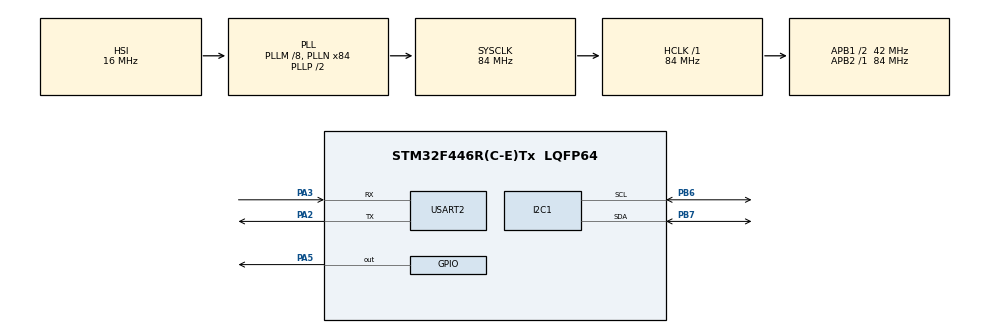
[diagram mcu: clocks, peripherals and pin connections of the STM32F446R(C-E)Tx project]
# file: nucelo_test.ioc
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I2C1.I2C_Mode=I2C_Fast
Mcu.Family=STM32F4
Mcu.Name=STM32F446R(C-E)Tx
Mcu.Package=LQFP64
NVIC.PriorityGroup=NVIC_PRIORITYGROUP_4
NVIC.USART2_IRQn=true\:0\:0\:false\:false\:true\:true\:true\:true
PA2.Mode=Asynchronous
PA2.Signal=USART2_TX
PA3.Mode=Asynchronous
PA3.Signal=USART2_RX
PA5.GPIO_ModeDefaultOutputPP=GPIO_MODE_OUTPUT_PP
PA5.GPIO_PuPd=GPIO_NOPULL
PA5.PinState=GPIO_PIN_RESET
PA5.Signal=GPIO_Output
PB6.Mode=I2C
PB6.Signal=I2C1_SCL
PB7.Mode=I2C
PB7.Signal=I2C1_SDA
ProjectManager.HeapSize=0x200
ProjectManager.StackSize=0x400
ProjectManager.TargetToolchain=STM32CubeIDE
RCC.AHBFreq_Value=84000000
RCC.APB1CLKDivider=RCC_HCLK_DIV2
RCC.APB1Freq_Value=42000000
RCC.APB1TimFreq_Value=84000000
RCC.APB2Freq_Value=84000000
RCC.APB2TimFreq_Value=84000000
RCC.CortexFreq_Value=84000000
RCC.HCLKFreq_Value=84000000
RCC.PLLM=8
RCC.PLLN=84
RCC.SYSCLKFreq_VALUE=84000000
RCC.SYSCLKSource=RCC_SYSCLKSOURCE_PLLCLK
RCC.USBFreq_Value=84000000
RCC.VCOOutputFreq_Value=168000000
USART2.VirtualMode=VM_ASYNC
board=custom

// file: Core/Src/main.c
/* USER CODE BEGIN Header */
/**
 ******************************************************************************
 * @file           : main.c
 * @brief          : Main program body
 ******************************************************************************
 * @attention
 *
 * Copyright (c) 2026 STMicroelectronics.
 * All rights reserved.
 *
 * This software is licensed under terms that can be found in the LICENSE file
 * in the root directory of this software component.
 * If no LICENSE file comes with this software, it is provided AS-IS.
 *
 ******************************************************************************
 */
/* USER CODE END Header */
#include "main.h"

/* USER CODE BEGIN Includes */
#include <stdio.h>
/* USER CODE END Includes */

I2C_HandleTypeDef hi2c1;

UART_HandleTypeDef huart2;

void SystemClock_Config(void);
static void MX_GPIO_Init(void);
static void MX_USART2_UART_Init(void);
static void MX_I2C1_Init(void);

/* USER CODE BEGIN 0 */
// Send printf to uart2
int _write(int fd, char* ptr, int len) {
	HAL_StatusTypeDef hstatus;

	if (fd == 1 || fd == 2) {
		hstatus = HAL_UART_Transmit(&huart2, (uint8_t *) ptr, len, HAL_MAX_DELAY);
		if (hstatus == HAL_OK)
			return len;
		else
			return -1;
	}
	return -1;
}
/* USER CODE END 0 */

int main(void)
{

	/* MCU Configuration--------------------------------------------------------*/

	/* Reset of all peripherals, Initializes the Flash interface and the Systick. */
	HAL_Init();

	/* Configure the system clock */
	SystemClock_Config();

	/* Initialize all configured peripherals */
	MX_GPIO_Init();
	MX_USART2_UART_Init();
	MX_I2C1_Init();
	/* USER CODE BEGIN 2 */
	HAL_NVIC_SetPriority(USART2_IRQn, 0, 0);
	HAL_NVIC_EnableIRQ(USART2_IRQn);

	uint32_t last = 0;
	/* USER CODE END 2 */

	/* Infinite loop */
	/* USER CODE BEGIN WHILE */
	while (1)
	{
		if(HAL_GetTick()-last>=1000){
			HAL_GPIO_TogglePin(GPIOA, GPIO_PIN_5);
			last= HAL_GetTick();
		}
		/* USER CODE END WHILE */

	}
}

void SystemClock_Config(void)
{
	RCC_OscInitTypeDef RCC_OscInitStruct = {0};
	RCC_ClkInitTypeDef RCC_ClkInitStruct = {0};

	/** Configure the main internal regulator output voltage
	 */
	__HAL_RCC_PWR_CLK_ENABLE();
	__HAL_PWR_VOLTAGESCALING_CONFIG(PWR_REGULATOR_VOLTAGE_SCALE3);

	/** Initializes the RCC Oscillators according to the specified parameters
	 * in the RCC_OscInitTypeDef structure.
	 */
	RCC_OscInitStruct.OscillatorType = RCC_OSCILLATORTYPE_HSI;
	RCC_OscInitStruct.HSIState = RCC_HSI_ON;
	RCC_OscInitStruct.HSICalibrationValue = RCC_HSICALIBRATION_DEFAULT;
	RCC_OscInitStruct.PLL.PLLState = RCC_PLL_ON;
	RCC_OscInitStruct.PLL.PLLSource = RCC_PLLSOURCE_HSI;
	RCC_OscInitStruct.PLL.PLLM = 8;
	RCC_OscInitStruct.PLL.PLLN = 84;
	RCC_OscInitStruct.PLL.PLLP = RCC_PLLP_DIV2;
	RCC_OscInitStruct.PLL.PLLQ = 2;
	RCC_OscInitStruct.PLL.PLLR = 2;
	if (HAL_RCC_OscConfig(&RCC_OscInitStruct) != HAL_OK)
	{
		Error_Handler();
	}

	/** Initializes the CPU, AHB and APB buses clocks
	 */
	RCC_ClkInitStruct.ClockType = RCC_CLOCKTYPE_HCLK|RCC_CLOCKTYPE_SYSCLK
			|RCC_CLOCKTYPE_PCLK1|RCC_CLOCKTYPE_PCLK2;
	RCC_ClkInitStruct.SYSCLKSource = RCC_SYSCLKSOURCE_PLLCLK;
	RCC_ClkInitStruct.AHBCLKDivider = RCC_SYSCLK_DIV1;
	RCC_ClkInitStruct.APB1CLKDivider = RCC_HCLK_DIV2;
	RCC_ClkInitStruct.APB2CLKDivider = RCC_HCLK_DIV1;

	if (HAL_RCC_ClockConfig(&RCC_ClkInitStruct, FLASH_LATENCY_2) != HAL_OK)
	{
		Error_Handler();
	}
}

static void MX_I2C1_Init(void)
{

	hi2c1.Instance = I2C1;
	hi2c1.Init.ClockSpeed = 400000;
	hi2c1.Init.DutyCycle = I2C_DUTYCYCLE_2;
	hi2c1.Init.OwnAddress1 = 0;
	hi2c1.Init.AddressingMode = I2C_ADDRESSINGMODE_7BIT;
	hi2c1.Init.DualAddressMode = I2C_DUALADDRESS_DISABLE;
	hi2c1.Init.OwnAddress2 = 0;
	hi2c1.Init.GeneralCallMode = I2C_GENERALCALL_DISABLE;
	hi2c1.Init.NoStretchMode = I2C_NOSTRETCH_DISABLE;
	if (HAL_I2C_Init(&hi2c1) != HAL_OK)
	{
		Error_Handler();
	}

}

static void MX_USART2_UART_Init(void)
{

	huart2.Instance = USART2;
	huart2.Init.BaudRate = 115200;
	huart2.Init.WordLength = UART_WORDLENGTH_8B;
	huart2.Init.StopBits = UART_STOPBITS_1;
	huart2.Init.Parity = UART_PARITY_NONE;
	huart2.Init.Mode = UART_MODE_TX_RX;
	huart2.Init.HwFlowCtl = UART_HWCONTROL_NONE;
	huart2.Init.OverSampling = UART_OVERSAMPLING_16;
	if (HAL_UART_Init(&huart2) != HAL_OK)
	{
		Error_Handler();
	}

}

static void MX_GPIO_Init(void)
{
	GPIO_InitTypeDef GPIO_InitStruct = {0};

	/* GPIO Ports Clock Enable */
	__HAL_RCC_GPIOA_CLK_ENABLE();
	__HAL_RCC_GPIOB_CLK_ENABLE();

	/*Configure GPIO pin Output Level */
	HAL_GPIO_WritePin(GPIOA, GPIO_PIN_5, GPIO_PIN_RESET);

	/*Configure GPIO pin : PA5 */
	GPIO_InitStruct.Pin = GPIO_PIN_5;
	GPIO_InitStruct.Mode = GPIO_MODE_OUTPUT_PP;
	GPIO_InitStruct.Pull = GPIO_NOPULL;
	GPIO_InitStruct.Speed = GPIO_SPEED_FREQ_LOW;
	HAL_GPIO_Init(GPIOA, &GPIO_InitStruct);

}

void Error_Handler(void)
{
	__disable_irq();
	while (1)
	{
	}
}
